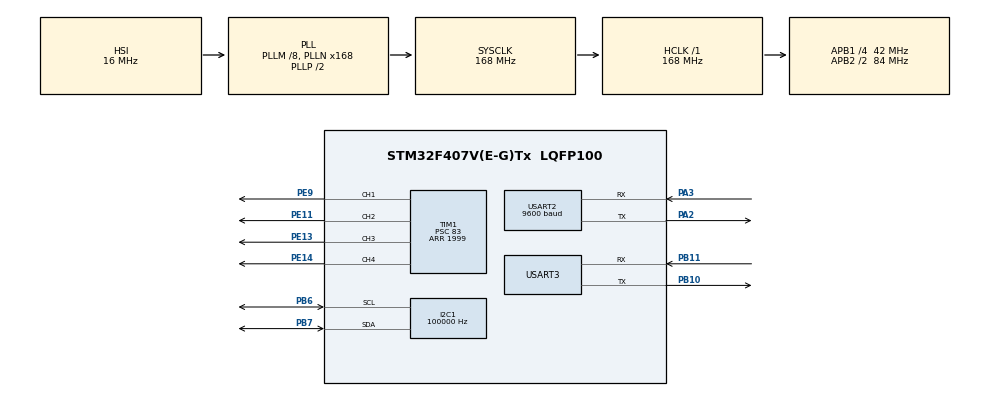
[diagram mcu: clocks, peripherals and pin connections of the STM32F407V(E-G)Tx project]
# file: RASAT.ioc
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I2C1.ClockSpeed=100000
I2C1.I2C_Mode=I2C_Standard
Mcu.Family=STM32F4
Mcu.Name=STM32F407V(E-G)Tx
Mcu.Package=LQFP100
NVIC.PriorityGroup=NVIC_PRIORITYGROUP_4
NVIC.USART2_IRQn=true\:0\:0\:false\:false\:true\:true\:true\:true
PA13.Mode=Serial_Wire
PA13.Signal=SYS_JTMS-SWDIO
PA14.Mode=Serial_Wire
PA14.Signal=SYS_JTCK-SWCLK
PA2.Mode=Asynchronous
PA2.Signal=USART2_TX
PA3.Mode=Asynchronous
PA3.Signal=USART2_RX
PB10.Mode=Asynchronous
PB10.Signal=USART3_TX
PB11.Mode=Asynchronous
PB11.Signal=USART3_RX
PB6.Mode=I2C
PB6.Signal=I2C1_SCL
PB7.Mode=I2C
PB7.Signal=I2C1_SDA
PE11.Signal=S_TIM1_CH2
PE13.Signal=S_TIM1_CH3
PE14.Signal=S_TIM1_CH4
PE9.Signal=S_TIM1_CH1
PH0-OSC_IN.Mode=HSE-External-Oscillator
PH0-OSC_IN.Signal=RCC_OSC_IN
PH1-OSC_OUT.Mode=HSE-External-Oscillator
PH1-OSC_OUT.Signal=RCC_OSC_OUT
ProjectManager.HeapSize=0x200
ProjectManager.StackSize=0x400
ProjectManager.TargetToolchain=STM32CubeIDE
RCC.48MHZClocksFreq_Value=84000000
RCC.AHBFreq_Value=168000000
RCC.APB1CLKDivider=RCC_HCLK_DIV4
RCC.APB1Freq_Value=42000000
RCC.APB1TimFreq_Value=84000000
RCC.APB2CLKDivider=RCC_HCLK_DIV2
RCC.APB2Freq_Value=84000000
RCC.APB2TimFreq_Value=168000000
RCC.CortexFreq_Value=168000000
RCC.HCLKFreq_Value=168000000
RCC.HSE_VALUE=8000000
RCC.HSI_VALUE=16000000
RCC.LSE_VALUE=32768
RCC.PLLM=8
RCC.PLLN=168
RCC.SYSCLKFreq_VALUE=168000000
RCC.SYSCLKSource=RCC_SYSCLKSOURCE_PLLCLK
RCC.VCOOutputFreq_Value=336000000
SH.S_TIM1_CH1.0=TIM1_CH1,PWM Generation1 CH1
SH.S_TIM1_CH2.0=TIM1_CH2,PWM Generation2 CH2
SH.S_TIM1_CH3.0=TIM1_CH3,PWM Generation3 CH3
SH.S_TIM1_CH4.0=TIM1_CH4,PWM Generation4 CH4
TIM1.Channel-PWM\ Generation1\ CH1=TIM_CHANNEL_1
TIM1.Channel-PWM\ Generation2\ CH2=TIM_CHANNEL_2
TIM1.Channel-PWM\ Generation3\ CH3=TIM_CHANNEL_3
TIM1.Channel-PWM\ Generation4\ CH4=TIM_CHANNEL_4
TIM1.Period=1999
TIM1.Prescaler=83
TIM1.Pulse-PWM\ Generation1\ CH1=1000
USART2.BaudRate=9600
USART2.VirtualMode=VM_ASYNC
USART3.VirtualMode=VM_ASYNC
VP_TIM1_VS_ClockSourceINT.Mode=Internal
board=custom

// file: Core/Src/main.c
/* USER CODE BEGIN Header */
/**
  ******************************************************************************
  * @file           : main.c
  * @brief          : Main program body
  ******************************************************************************
  * @attention
  *
  * Copyright (c) 2026 STMicroelectronics.
  * All rights reserved.
  *
  * This software is licensed under terms that can be found in the LICENSE file
  * in the root directory of this software component.
  * If no LICENSE file comes with this software, it is provided AS-IS.
  *
  ******************************************************************************
  */
/* USER CODE END Header */
#include "main.h"

/* USER CODE BEGIN Includes */

#include "gps.h"
#include <stdio.h>

/* USER CODE END Includes */

I2C_HandleTypeDef hi2c1;

TIM_HandleTypeDef htim1;

UART_HandleTypeDef huart2;
UART_HandleTypeDef huart3;

/* USER CODE BEGIN PV */

GPS_Data gps;

volatile uint8_t code_reached_begin2 = 0U;

volatile uint8_t gps_init_ok = 0U;
volatile uint8_t gps_receive_started = 0U;
volatile uint8_t gps_read_ok = 0U;

volatile uint8_t gps_new_data_dbg = 0U;
volatile uint8_t gps_fix_valid_dbg = 0U;
volatile uint8_t gps_fix_quality_dbg = 0U;
volatile uint8_t gps_satellites_dbg = 0U;

volatile double gps_latitude_dbg = 0.0;
volatile double gps_longitude_dbg = 0.0;

volatile float gps_altitude_dbg = 0.0f;
volatile float gps_speed_dbg = 0.0f;
volatile float gps_course_dbg = 0.0f;
volatile float gps_hdop_dbg = 0.0f;

/* USER CODE END PV */

void SystemClock_Config(void);
static void MX_GPIO_Init(void);
static void MX_TIM1_Init(void);
static void MX_I2C1_Init(void);
static void MX_USART2_UART_Init(void);
static void MX_USART3_UART_Init(void);

/* USER CODE BEGIN 0 */

void HAL_UART_RxCpltCallback(UART_HandleTypeDef *huart)
{
    GPS_UART_RxCpltCallback(huart);
}

/* USER CODE END 0 */

int main(void)
{

  /* MCU Configuration--------------------------------------------------------*/

  /* Reset of all peripherals, Initializes the Flash interface and the Systick. */
  HAL_Init();

  /* Configure the system clock */
  SystemClock_Config();

  /* Initialize all configured peripherals */
  MX_GPIO_Init();
  MX_TIM1_Init();
  MX_I2C1_Init();
  MX_USART2_UART_Init();
  MX_USART3_UART_Init();
  /* USER CODE BEGIN 2 */

  code_reached_begin2 = 1U;

  HAL_Delay(500U);

  gps_init_ok = GPS_Init(&huart2);

  if(gps_init_ok != 0U)
  {
      gps_receive_started = GPS_StartReceiveIT();
  }

  /* USER CODE END 2 */
  /* Infinite loop */
  while (1)
  {

    /* USER CODE BEGIN 3 */

	  if(GPS_Read(&gps) != 0U)
	  {
	      gps_read_ok = 1U;

	      gps_new_data_dbg = gps.new_data;
	      gps_fix_valid_dbg = gps.fix_valid;
	      gps_fix_quality_dbg = gps.fix_quality;
	      gps_satellites_dbg = gps.satellites;

	      gps_latitude_dbg = gps.latitude_deg;
	      gps_longitude_dbg = gps.longitude_deg;

	      gps_altitude_dbg = gps.altitude_m;
	      gps_speed_dbg = gps.speed_mps;
	      gps_course_dbg = gps.course_deg;
	      gps_hdop_dbg = gps.hdop;
	  }
	  else
	  {
	      gps_read_ok = 0U;
	  }

	  HAL_Delay(200U);

  /* USER CODE END 3 */
 }
}

void SystemClock_Config(void)
{
  RCC_OscInitTypeDef RCC_OscInitStruct = {0};
  RCC_ClkInitTypeDef RCC_ClkInitStruct = {0};

  /** Configure the main internal regulator output voltage
  */
  __HAL_RCC_PWR_CLK_ENABLE();
  __HAL_PWR_VOLTAGESCALING_CONFIG(PWR_REGULATOR_VOLTAGE_SCALE1);

  /** Initializes the RCC Oscillators according to the specified parameters
  * in the RCC_OscInitTypeDef structure.
  */
  RCC_OscInitStruct.OscillatorType = RCC_OSCILLATORTYPE_HSI;
  RCC_OscInitStruct.HSIState = RCC_HSI_ON;
  RCC_OscInitStruct.HSICalibrationValue = RCC_HSICALIBRATION_DEFAULT;
  RCC_OscInitStruct.PLL.PLLState = RCC_PLL_ON;
  RCC_OscInitStruct.PLL.PLLSource = RCC_PLLSOURCE_HSI;
  RCC_OscInitStruct.PLL.PLLM = 8;
  RCC_OscInitStruct.PLL.PLLN = 168;
  RCC_OscInitStruct.PLL.PLLP = RCC_PLLP_DIV2;
  RCC_OscInitStruct.PLL.PLLQ = 4;
  if (HAL_RCC_OscConfig(&RCC_OscInitStruct) != HAL_OK)
  {
    Error_Handler();
  }

  /** Initializes the CPU, AHB and APB buses clocks
  */
  RCC_ClkInitStruct.ClockType = RCC_CLOCKTYPE_HCLK|RCC_CLOCKTYPE_SYSCLK
                              |RCC_CLOCKTYPE_PCLK1|RCC_CLOCKTYPE_PCLK2;
  RCC_ClkInitStruct.SYSCLKSource = RCC_SYSCLKSOURCE_PLLCLK;
  RCC_ClkInitStruct.AHBCLKDivider = RCC_SYSCLK_DIV1;
  RCC_ClkInitStruct.APB1CLKDivider = RCC_HCLK_DIV4;
  RCC_ClkInitStruct.APB2CLKDivider = RCC_HCLK_DIV2;

  if (HAL_RCC_ClockConfig(&RCC_ClkInitStruct, FLASH_LATENCY_5) != HAL_OK)
  {
    Error_Handler();
  }
}

static void MX_I2C1_Init(void)
{

  hi2c1.Instance = I2C1;
  hi2c1.Init.ClockSpeed = 100000;
  hi2c1.Init.DutyCycle = I2C_DUTYCYCLE_2;
  hi2c1.Init.OwnAddress1 = 0;
  hi2c1.Init.AddressingMode = I2C_ADDRESSINGMODE_7BIT;
  hi2c1.Init.DualAddressMode = I2C_DUALADDRESS_DISABLE;
  hi2c1.Init.OwnAddress2 = 0;
  hi2c1.Init.GeneralCallMode = I2C_GENERALCALL_DISABLE;
  hi2c1.Init.NoStretchMode = I2C_NOSTRETCH_DISABLE;
  if (HAL_I2C_Init(&hi2c1) != HAL_OK)
  {
    Error_Handler();
  }

}

static void MX_TIM1_Init(void)
{

  TIM_ClockConfigTypeDef sClockSourceConfig = {0};
  TIM_MasterConfigTypeDef sMasterConfig = {0};
  TIM_OC_InitTypeDef sConfigOC = {0};
  TIM_BreakDeadTimeConfigTypeDef sBreakDeadTimeConfig = {0};

  htim1.Instance = TIM1;
  htim1.Init.Prescaler = 83;
  htim1.Init.CounterMode = TIM_COUNTERMODE_UP;
  htim1.Init.Period = 1999;
  htim1.Init.ClockDivision = TIM_CLOCKDIVISION_DIV1;
  htim1.Init.RepetitionCounter = 0;
  htim1.Init.AutoReloadPreload = TIM_AUTORELOAD_PRELOAD_DISABLE;
  if (HAL_TIM_Base_Init(&htim1) != HAL_OK)
  {
    Error_Handler();
  }
  sClockSourceConfig.ClockSource = TIM_CLOCKSOURCE_INTERNAL;
  if (HAL_TIM_ConfigClockSource(&htim1, &sClockSourceConfig) != HAL_OK)
  {
    Error_Handler();
  }
  if (HAL_TIM_PWM_Init(&htim1) != HAL_OK)
  {
    Error_Handler();
  }
  sMasterConfig.MasterOutputTrigger = TIM_TRGO_RESET;
  sMasterConfig.MasterSlaveMode = TIM_MASTERSLAVEMODE_DISABLE;
  if (HAL_TIMEx_MasterConfigSynchronization(&htim1, &sMasterConfig) != HAL_OK)
  {
    Error_Handler();
  }
  sConfigOC.OCMode = TIM_OCMODE_PWM1;
  sConfigOC.Pulse = 1000;
  sConfigOC.OCPolarity = TIM_OCPOLARITY_HIGH;
  sConfigOC.OCNPolarity = TIM_OCNPOLARITY_HIGH;
  sConfigOC.OCFastMode = TIM_OCFAST_DISABLE;
  sConfigOC.OCIdleState = TIM_OCIDLESTATE_RESET;
  sConfigOC.OCNIdleState = TIM_OCNIDLESTATE_RESET;
  if (HAL_TIM_PWM_ConfigChannel(&htim1, &sConfigOC, TIM_CHANNEL_1) != HAL_OK)
  {
    Error_Handler();
  }
  sConfigOC.Pulse = 0;
  if (HAL_TIM_PWM_ConfigChannel(&htim1, &sConfigOC, TIM_CHANNEL_2) != HAL_OK)
  {
    Error_Handler();
  }
  if (HAL_TIM_PWM_ConfigChannel(&htim1, &sConfigOC, TIM_CHANNEL_3) != HAL_OK)
  {
    Error_Handler();
  }
  if (HAL_TIM_PWM_ConfigChannel(&htim1, &sConfigOC, TIM_CHANNEL_4) != HAL_OK)
  {
    Error_Handler();
  }
  sBreakDeadTimeConfig.OffStateRunMode = TIM_OSSR_DISABLE;
  sBreakDeadTimeConfig.OffStateIDLEMode = TIM_OSSI_DISABLE;
  sBreakDeadTimeConfig.LockLevel = TIM_LOCKLEVEL_OFF;
  sBreakDeadTimeConfig.DeadTime = 0;
  sBreakDeadTimeConfig.BreakState = TIM_BREAK_DISABLE;
  sBreakDeadTimeConfig.BreakPolarity = TIM_BREAKPOLARITY_HIGH;
  sBreakDeadTimeConfig.AutomaticOutput = TIM_AUTOMATICOUTPUT_DISABLE;
  if (HAL_TIMEx_ConfigBreakDeadTime(&htim1, &sBreakDeadTimeConfig) != HAL_OK)
  {
    Error_Handler();
  }
  HAL_TIM_MspPostInit(&htim1);

}

static void MX_USART2_UART_Init(void)
{

  huart2.Instance = USART2;
  huart2.Init.BaudRate = 9600;
  huart2.Init.WordLength = UART_WORDLENGTH_8B;
  huart2.Init.StopBits = UART_STOPBITS_1;
  huart2.Init.Parity = UART_PARITY_NONE;
  huart2.Init.Mode = UART_MODE_TX_RX;
  huart2.Init.HwFlowCtl = UART_HWCONTROL_NONE;
  huart2.Init.OverSampling = UART_OVERSAMPLING_16;
  if (HAL_UART_Init(&huart2) != HAL_OK)
  {
    Error_Handler();
  }

}

static void MX_USART3_UART_Init(void)
{

  huart3.Instance = USART3;
  huart3.Init.BaudRate = 115200;
  huart3.Init.WordLength = UART_WORDLENGTH_8B;
  huart3.Init.StopBits = UART_STOPBITS_1;
  huart3.Init.Parity = UART_PARITY_NONE;
  huart3.Init.Mode = UART_MODE_TX_RX;
  huart3.Init.HwFlowCtl = UART_HWCONTROL_NONE;
  huart3.Init.OverSampling = UART_OVERSAMPLING_16;
  if (HAL_UART_Init(&huart3) != HAL_OK)
  {
    Error_Handler();
  }

}

static void MX_GPIO_Init(void)
{

  /* GPIO Ports Clock Enable */
  __HAL_RCC_GPIOH_CLK_ENABLE();
  __HAL_RCC_GPIOA_CLK_ENABLE();
  __HAL_RCC_GPIOE_CLK_ENABLE();
  __HAL_RCC_GPIOB_CLK_ENABLE();

}

void Error_Handler(void)
{
  __disable_irq();
  while (1)
  {
  }
}
